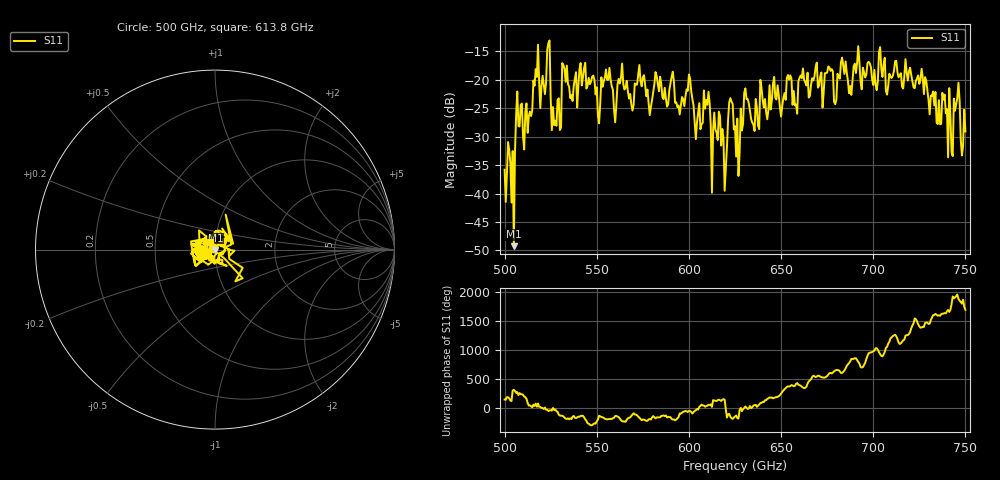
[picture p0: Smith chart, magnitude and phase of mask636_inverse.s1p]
!Created with skrf (http://scikit-rf.org).
# GHz S MA R 50.0
!freq magS11 angS11
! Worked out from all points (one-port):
!   401 points, 500 GHz to 750 GHz, reference 50 ohm
!   lowest |S11| = -49.3 dB at 505 GHz (marker M1), VSWR 1.01, Z = 50.2 - j0.268 ohm
!   |S11| at or under -10 dB: start of sweep to end of sweep
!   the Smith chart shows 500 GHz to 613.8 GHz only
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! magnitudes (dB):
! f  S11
! 500 GHz  -35.8
! 505 GHz  -49.3
! 507.5 GHz  -28.1
! 513.8 GHz  -25.6
! 516.9 GHz  -18.1
! 523.8 GHz  -13.5
! 526.9 GHz  -28.0
! 531.2 GHz  -17.1
! 542.5 GHz  -19.6
! 550.6 GHz  -26.3
! 555.6 GHz  -20.0
! 559.4 GHz  -25.2
! 562.5 GHz  -20.7
! 593.8 GHz  -24.8
! 609.4 GHz  -23.5
! 618.8 GHz  -30.3
! 622.5 GHz  -23.2
! 625 GHz  -28.1
! 628.1 GHz  -25.1
! 631.2 GHz  -23.4
! 634.4 GHz  -27.5
! 656.2 GHz  -24.4
! 680 GHz  -23.5
! 683.8 GHz  -17.5
! 687.5 GHz  -21.1
! 691.2 GHz  -17.0
! 718.8 GHz  -20.1
! 750 GHz  -29.1
